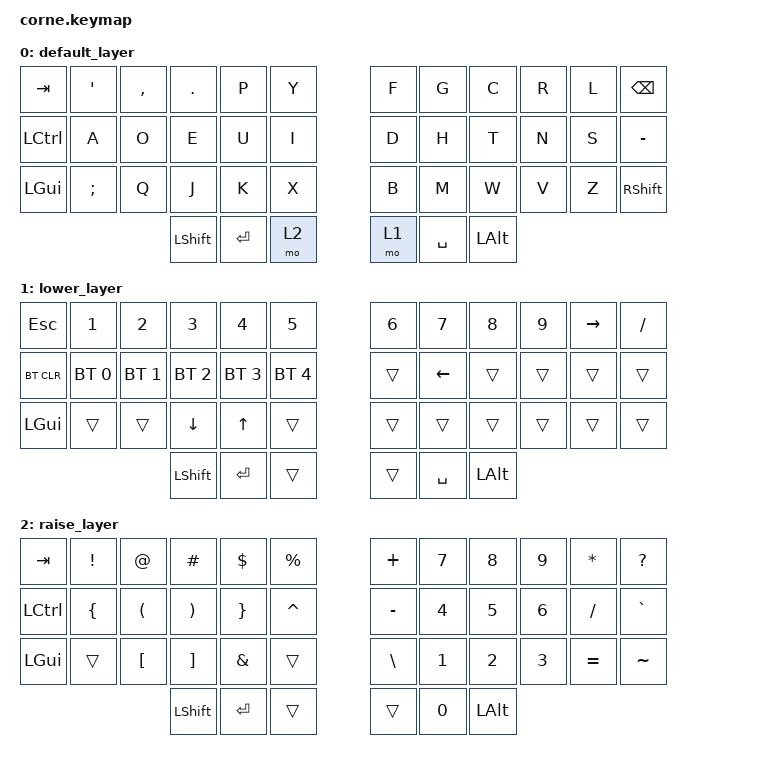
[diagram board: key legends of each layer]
/*
 * Copyright (c) 2020 The ZMK Contributors
 *
 * SPDX-License-Identifier: MIT
 */

#include <behaviors.dtsi>
#include <dt-bindings/zmk/keys.h>
#include <dt-bindings/zmk/bt.h>

/ {
        keymap {
                compatible = "zmk,keymap";

                default_layer {
// -----------------------------------------------------------------------------------------
// |  TAB |  '  |  ,  |  .  |  P  |  Y  |   |  F  |  G   |  C  |  R  |  L  | BKSP   |
// | CTRL |  A  |  O  |  E  |  U  |  I  |   |  D  |  H   |  T  |  N  |  S  |  -     |
// | GUI |  ;  |  Q  |  J  |  K  |  X  |   |  B  |  M   |  W  |  V  |  Z  | SHFT    |
//                    | SHFT | ENT | RSE |   | LWR | SPC  | ALT |
                        bindings = <
   &kp TAB   &kp SQT &kp COMMA &kp DOT &kp P &kp Y   &kp F &kp G  &kp C     &kp R   &kp L    &kp BSPC
   &kp LCTRL &kp A &kp O &kp E &kp U &kp I   &kp D &kp H  &kp T     &kp N   &kp S &kp MINUS
   &kp LGUI &kp SEMI &kp Q &kp J &kp K &kp X   &kp B &kp M  &kp W &kp V &kp Z &kp RSHIFT
                  &kp LSHFT &kp RET &mo 2   &mo 1 &kp SPACE &kp LALT
                        >;
                };
                lower_layer {
// -----------------------------------------------------------------------------------------
// |   ESC  |  1  |  2  |  3  |  4  |  5  |   |  6  |  7  |  8  |  9  | RGT |  /  |
// | BTCLR  | BT1 | BT2 | BT3 | BT4 | BT5 |   |     | LFT |     |     |     |     |
// | GUI    |     |     | DWN |  UP |     |   |     |     |     |     |     |     |
//                    | SHFT | ENT |     |   |     | SPC | ALT |
                        bindings = <
   &kp ESC    &kp N1       &kp N2       &kp N3       &kp N4       &kp N5         &kp N6   &kp N7   &kp N8 &kp N9 &kp RIGHT &kp FSLH
   &bt BT_CLR &bt BT_SEL 0 &bt BT_SEL 1 &bt BT_SEL 2 &bt BT_SEL 3 &bt BT_SEL 4   &trans  &kp LEFT  &trans &trans &trans    &trans
   &kp LGUI   &trans       &trans       &kp DOWN     &kp UP       &trans         &trans   &trans   &trans &trans &trans    &trans
                          	        &kp LSHFT     &kp RET &trans      &trans &kp SPACE    &kp LALT
                        >;
                };

                raise_layer {
// -----------------------------------------------------------------------------------------
// |  TAB |  !  |  @  |  #  |  $  |  %  |   |  +  |  7  |  8  |  9  |  *  |  ?   |
// | CTRL |  {  |  (  |  )  |  }  |  ^  |   |  -  |  4  |  5  |  6  |  /  |  `   |
// | GUI  |     |  [  |  ]  |  &  |     |   |  \  |  1  |  2  |  3  |  =  |  ~   |
//                    | SHFT| ENT |     |   |     |  0  | ALT |
                        bindings = <
   &kp  TAB  &kp EXCL &kp AT   &kp HASH &kp DLLR &kp PRCNT &kp PLUS  &kp N7 &kp N8 &kp N9 &kp STAR  &kp QMARK
   &kp LCTRL &kp LBRC &kp LPAR &kp RPAR &kp RBRC &kp CARET &kp MINUS &kp N4 &kp N5 &kp N6 &kp FSLH  &kp GRAVE
   &kp LGUI  &trans   &kp LBKT &kp RBKT &kp AMPS &trans    &kp BSLH  &kp N1 &kp N2 &kp N3 &kp EQUAL &kp TILDE
                    	     &kp LSHFT &kp RET  &trans      &trans    &kp N0 &kp LALT
                        >;
                };
        };
};
